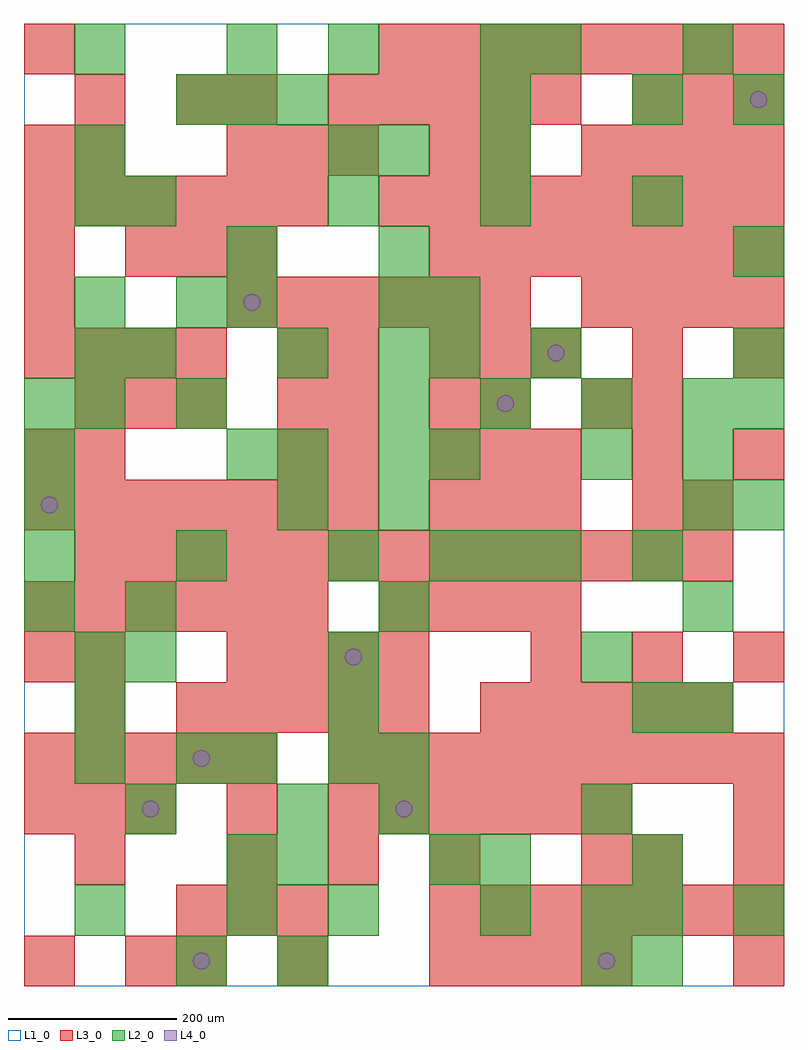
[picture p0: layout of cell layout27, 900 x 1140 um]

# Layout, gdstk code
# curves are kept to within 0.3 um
import gdstk
lib = gdstk.Library(unit=1e-6, precision=1e-09)
def R(c, l, rs):  # rectangles x0, y0, x1, y1
    for r in rs: c.add(gdstk.rectangle(r[:2], r[2:], *l))
def A(c, l, x, y, w, h, nx, ny, dx, dy):  # array of equal rectangles
    R(c, l, [(x+i*dx, y+j*dy, x+i*dx+w, y+j*dy+h) for i in range(nx) for j in range(ny)])
def P(c, l, *ps):  # polygons
    for p in ps: c.add(gdstk.Polygon(p, *l))
L1_0 = (1, 0)
L2_0 = (2, 0)
L3_0 = (3, 0)
L4_0 = (4, 0)

layout27 = lib.new_cell('layout27')
R(layout27, L1_0, [(0,0,900,1140)])
A(layout27, L2_0, 720, 0, 60, 60, 1, 3, 0, 60)
A(layout27, L2_0, 60, 240, 60, 60, 1, 3, 0, 60)
A(layout27, L2_0, 360, 240, 60, 60, 1, 3, 0, 60)
A(layout27, L2_0, 780, 300, 60, 60, 1, 3, 0, 120)
A(layout27, L2_0, 0, 480, 60, 60, 3, 1, 180, 0)
A(layout27, L2_0, 480, 480, 60, 60, 3, 1, 60, 0)
A(layout27, L2_0, 0, 540, 60, 60, 1, 3, 0, 60)
A(layout27, L2_0, 60, 660, 60, 60, 1, 3, 0, 60)
A(layout27, L2_0, 420, 660, 60, 60, 4, 1, 120, 0)
A(layout27, L2_0, 420, 720, 60, 60, 1, 3, 0, 60)
A(layout27, L2_0, 360, 900, 60, 60, 3, 1, 180, 0)
A(layout27, L2_0, 540, 960, 60, 60, 1, 3, 0, 60)
A(layout27, L2_0, 180, 1020, 60, 60, 3, 1, 60, 0)
R(layout27, L2_0, [(180,0,240,60), (300,0,360,60), (660,0,720,60), (60,60,120,120), (240,60,300,120), (360,60,420,120), (540,60,600,120), (660,60,720,120), (840,60,900,120), (240,120,300,180), (300,120,360,180), (480,120,540,180), (540,120,600,180), (120,180,180,240), (300,180,360,240), (420,180,480,240), (660,180,720,240), (180,240,240,300), (240,240,300,300), (420,240,480,300), (720,300,780,360), (120,360,180,420), (660,360,720,420), (0,420,60,480), (120,420,180,480), (420,420,480,480), (720,480,780,540), (300,540,360,600), (420,540,480,600), (840,540,900,600), (240,600,300,660), (300,600,360,660), (420,600,480,660), (480,600,540,660), (660,600,720,660), (780,600,840,660), (180,660,240,720), (840,660,900,720), (120,720,180,780), (300,720,360,780), (480,720,540,780), (600,720,660,780), (840,720,900,780), (180,780,240,840), (240,780,300,840), (480,780,540,840), (240,840,300,900), (840,840,900,900), (60,900,120,960), (120,900,180,960), (60,960,120,1020), (360,960,420,1020), (420,960,480,1020), (720,1020,780,1080), (840,1020,900,1080), (60,1080,120,1140), (240,1080,300,1140), (360,1080,420,1140), (600,1080,660,1140), (780,1080,840,1140)])
A(layout27, L3_0, 480, 0, 60, 60, 4, 1, 60, 0)
A(layout27, L3_0, 180, 60, 60, 60, 3, 1, 60, 0)
A(layout27, L3_0, 480, 60, 60, 60, 7, 2, 60, 780)
A(layout27, L3_0, 240, 120, 60, 60, 3, 1, 120, 0)
A(layout27, L3_0, 0, 180, 60, 60, 3, 1, 60, 0)
A(layout27, L3_0, 360, 180, 60, 60, 6, 1, 60, 0)
A(layout27, L3_0, 0, 240, 60, 60, 5, 1, 60, 0)
A(layout27, L3_0, 360, 240, 60, 60, 9, 1, 60, 0)
A(layout27, L3_0, 180, 300, 60, 60, 5, 1, 60, 0)
A(layout27, L3_0, 540, 300, 60, 60, 5, 1, 60, 0)
A(layout27, L3_0, 240, 360, 60, 60, 4, 1, 60, 0)
A(layout27, L3_0, 600, 360, 60, 60, 3, 1, 120, 0)
A(layout27, L3_0, 0, 420, 60, 60, 6, 2, 60, 480)
A(layout27, L3_0, 420, 420, 60, 60, 4, 1, 60, 0)
A(layout27, L3_0, 60, 480, 60, 60, 13, 1, 60, 0)
A(layout27, L3_0, 0, 540, 60, 60, 7, 1, 60, 0)
A(layout27, L3_0, 480, 540, 60, 60, 3, 2, 60, 60)
A(layout27, L3_0, 720, 540, 60, 60, 1, 4, 0, 60)
A(layout27, L3_0, 300, 600, 60, 60, 1, 3, 0, 60)
A(layout27, L3_0, 360, 600, 60, 60, 1, 3, 0, 60)
A(layout27, L3_0, 60, 660, 60, 60, 3, 1, 60, 0)
A(layout27, L3_0, 0, 720, 60, 60, 4, 1, 60, 0)
A(layout27, L3_0, 480, 720, 60, 60, 3, 1, 60, 0)
A(layout27, L3_0, 240, 780, 60, 60, 6, 1, 60, 0)
A(layout27, L3_0, 660, 780, 60, 60, 4, 2, 60, 180)
A(layout27, L3_0, 0, 840, 60, 60, 1, 3, 0, 120)
A(layout27, L3_0, 120, 840, 60, 60, 3, 1, 60, 0)
A(layout27, L3_0, 420, 900, 60, 60, 8, 2, 60, 180)
A(layout27, L3_0, 240, 960, 60, 60, 3, 1, 60, 0)
A(layout27, L3_0, 360, 1020, 60, 60, 5, 1, 60, 0)
A(layout27, L3_0, 720, 1020, 60, 60, 3, 1, 60, 0)
R(layout27, L3_0, [(0,0,60,60), (120,0,180,60), (180,0,240,60), (300,0,360,60), (840,0,900,60), (60,120,120,180), (660,120,720,180), (720,120,780,180), (840,120,900,180), (240,180,300,240), (840,180,900,240), (60,300,120,360), (0,360,60,420), (60,360,120,420), (780,540,840,600), (0,600,60,660), (60,600,120,660), (840,600,900,660), (480,660,540,720), (540,660,600,720), (660,660,720,720), (840,720,900,780), (0,780,60,840), (60,960,120,1020), (480,960,540,1020), (540,960,600,1020), (60,1020,120,1080), (180,1020,240,1080), (240,1020,300,1080)])
P(layout27, L4_0, [(40,570),(39.239,573.827),(37.071,577.071),(33.827,579.239),(30,580),(26.173,579.239),(22.929,577.071),(20.761,573.827),(20,570),(20.761,566.173),(22.929,562.929),(26.173,560.761),(30,560),(33.827,560.761),(37.071,562.929),(39.239,566.173)],
  [(160,210),(159.239,213.827),(157.071,217.071),(153.827,219.239),(150,220),(146.173,219.239),(142.929,217.071),(140.761,213.827),(140,210),(140.761,206.173),(142.929,202.929),(146.173,200.761),(150,200),(153.827,200.761),(157.071,202.929),(159.239,206.173)],
  [(220,30),(219.239,33.827),(217.071,37.071),(213.827,39.239),(210,40),(206.173,39.239),(202.929,37.071),(200.761,33.827),(200,30),(200.761,26.173),(202.929,22.929),(206.173,20.761),(210,20),(213.827,20.761),(217.071,22.929),(219.239,26.173)],
  [(220,270),(219.239,273.827),(217.071,277.071),(213.827,279.239),(210,280),(206.173,279.239),(202.929,277.071),(200.761,273.827),(200,270),(200.761,266.173),(202.929,262.929),(206.173,260.761),(210,260),(213.827,260.761),(217.071,262.929),(219.239,266.173)],
  [(280,810),(279.239,813.827),(277.071,817.071),(273.827,819.239),(270,820),(266.173,819.239),(262.929,817.071),(260.761,813.827),(260,810),(260.761,806.173),(262.929,802.929),(266.173,800.761),(270,800),(273.827,800.761),(277.071,802.929),(279.239,806.173)],
  [(400,390),(399.239,393.827),(397.071,397.071),(393.827,399.239),(390,400),(386.173,399.239),(382.929,397.071),(380.761,393.827),(380,390),(380.761,386.173),(382.929,382.929),(386.173,380.761),(390,380),(393.827,380.761),(397.071,382.929),(399.239,386.173)],
  [(460,210),(459.239,213.827),(457.071,217.071),(453.827,219.239),(450,220),(446.173,219.239),(442.929,217.071),(440.761,213.827),(440,210),(440.761,206.173),(442.929,202.929),(446.173,200.761),(450,200),(453.827,200.761),(457.071,202.929),(459.239,206.173)],
  [(580,690),(579.239,693.827),(577.071,697.071),(573.827,699.239),(570,700),(566.173,699.239),(562.929,697.071),(560.761,693.827),(560,690),(560.761,686.173),(562.929,682.929),(566.173,680.761),(570,680),(573.827,680.761),(577.071,682.929),(579.239,686.173)],
  [(640,750),(639.239,753.827),(637.071,757.071),(633.827,759.239),(630,760),(626.173,759.239),(622.929,757.071),(620.761,753.827),(620,750),(620.761,746.173),(622.929,742.929),(626.173,740.761),(630,740),(633.827,740.761),(637.071,742.929),(639.239,746.173)],
  [(700,30),(699.239,33.827),(697.071,37.071),(693.827,39.239),(690,40),(686.173,39.239),(682.929,37.071),(680.761,33.827),(680,30),(680.761,26.173),(682.929,22.929),(686.173,20.761),(690,20),(693.827,20.761),(697.071,22.929),(699.239,26.173)],
  [(880,1050),(879.239,1053.827),(877.071,1057.071),(873.827,1059.239),(870,1060),(866.173,1059.239),(862.929,1057.071),(860.761,1053.827),(860,1050),(860.761,1046.173),(862.929,1042.929),(866.173,1040.761),(870,1040),(873.827,1040.761),(877.071,1042.929),(879.239,1046.173)])

lib.write_gds('layout27.gds')
